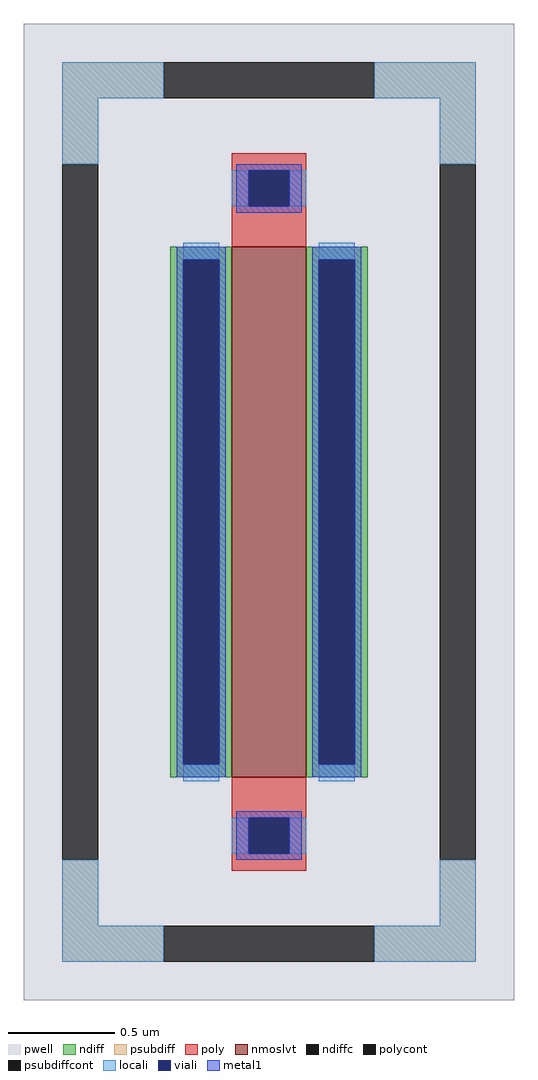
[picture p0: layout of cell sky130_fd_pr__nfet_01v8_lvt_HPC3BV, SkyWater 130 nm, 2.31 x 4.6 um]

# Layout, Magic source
magic
tech sky130A
magscale 1 2
<< pwell >>
rect -231 -460 231 460
<< nmoslvt >>
rect -35 -250 35 250
<< ndiff >>
rect -93 238 -35 250
rect -93 -238 -81 238
rect -47 -238 -35 238
rect -93 -250 -35 -238
rect 35 238 93 250
rect 35 -238 47 238
rect 81 -238 93 238
rect 35 -250 93 -238
<< ndiffc >>
rect -81 -238 -47 238
rect 47 -238 81 238
<< psubdiff >>
rect -195 390 -99 424
rect 99 390 195 424
rect -195 328 -161 390
rect 161 328 195 390
rect -195 -390 -161 -328
rect 161 -390 195 -328
rect -195 -424 -99 -390
rect 99 -424 195 -390
<< psubdiffcont >>
rect -99 390 99 424
rect -195 -328 -161 328
rect 161 -328 195 328
rect -99 -424 99 -390
<< poly >>
rect -35 322 35 338
rect -35 288 -19 322
rect 19 288 35 322
rect -35 250 35 288
rect -35 -288 35 -250
rect -35 -322 -19 -288
rect 19 -322 35 -288
rect -35 -338 35 -322
<< polycont >>
rect -19 288 19 322
rect -19 -322 19 -288
<< locali >>
rect -195 390 -99 424
rect 99 390 195 424
rect -195 328 -161 390
rect 161 328 195 390
rect -35 288 -19 322
rect 19 288 35 322
rect -81 238 -47 254
rect -81 -254 -47 -238
rect 47 238 81 254
rect 47 -254 81 -238
rect -35 -322 -19 -288
rect 19 -322 35 -288
rect -195 -390 -161 -328
rect 161 -390 195 -328
rect -195 -424 -99 -390
rect 99 -424 195 -390
<< viali >>
rect -19 288 19 322
rect -81 -238 -47 238
rect 47 -238 81 238
rect -19 -322 19 -288
<< metal1 >>
rect -31 322 31 328
rect -31 288 -19 322
rect 19 288 31 322
rect -31 282 31 288
rect -87 238 -41 250
rect -87 -238 -81 238
rect -47 -238 -41 238
rect -87 -250 -41 -238
rect 41 238 87 250
rect 41 -238 47 238
rect 81 -238 87 238
rect 41 -250 87 -238
rect -31 -288 31 -282
rect -31 -322 -19 -288
rect 19 -322 31 -288
rect -31 -328 31 -322
<< properties >>
string FIXED_BBOX -178 -407 178 407
string gencell sky130_fd_pr__nfet_01v8_lvt
string library sky130
string parameters w 2.5 l 0.35 m 1 nf 1 diffcov 100 polycov 100 guard 1 glc 1 grc 1 gtc 1 gbc 1 tbcov 100 rlcov 100 topc 1 botc 1 poverlap 0 doverlap 1 lmin 0.15 wmin 0.42 compatible {sky130_fd_pr__nfet_01v8 sky130_fd_pr__nfet_01v8_lvt  sky130_fd_bs_flash__special_sonosfet_star  sky130_fd_pr__nfet_g5v0d10v5 sky130_fd_pr__nfet_05v0_nvt  sky130_fd_pr__nfet_03v3_nvt} full_metal 1 viasrc 100 viadrn 100 viagate 100 viagb 0 viagr 0 viagl 0 viagt 0
<< end >>
